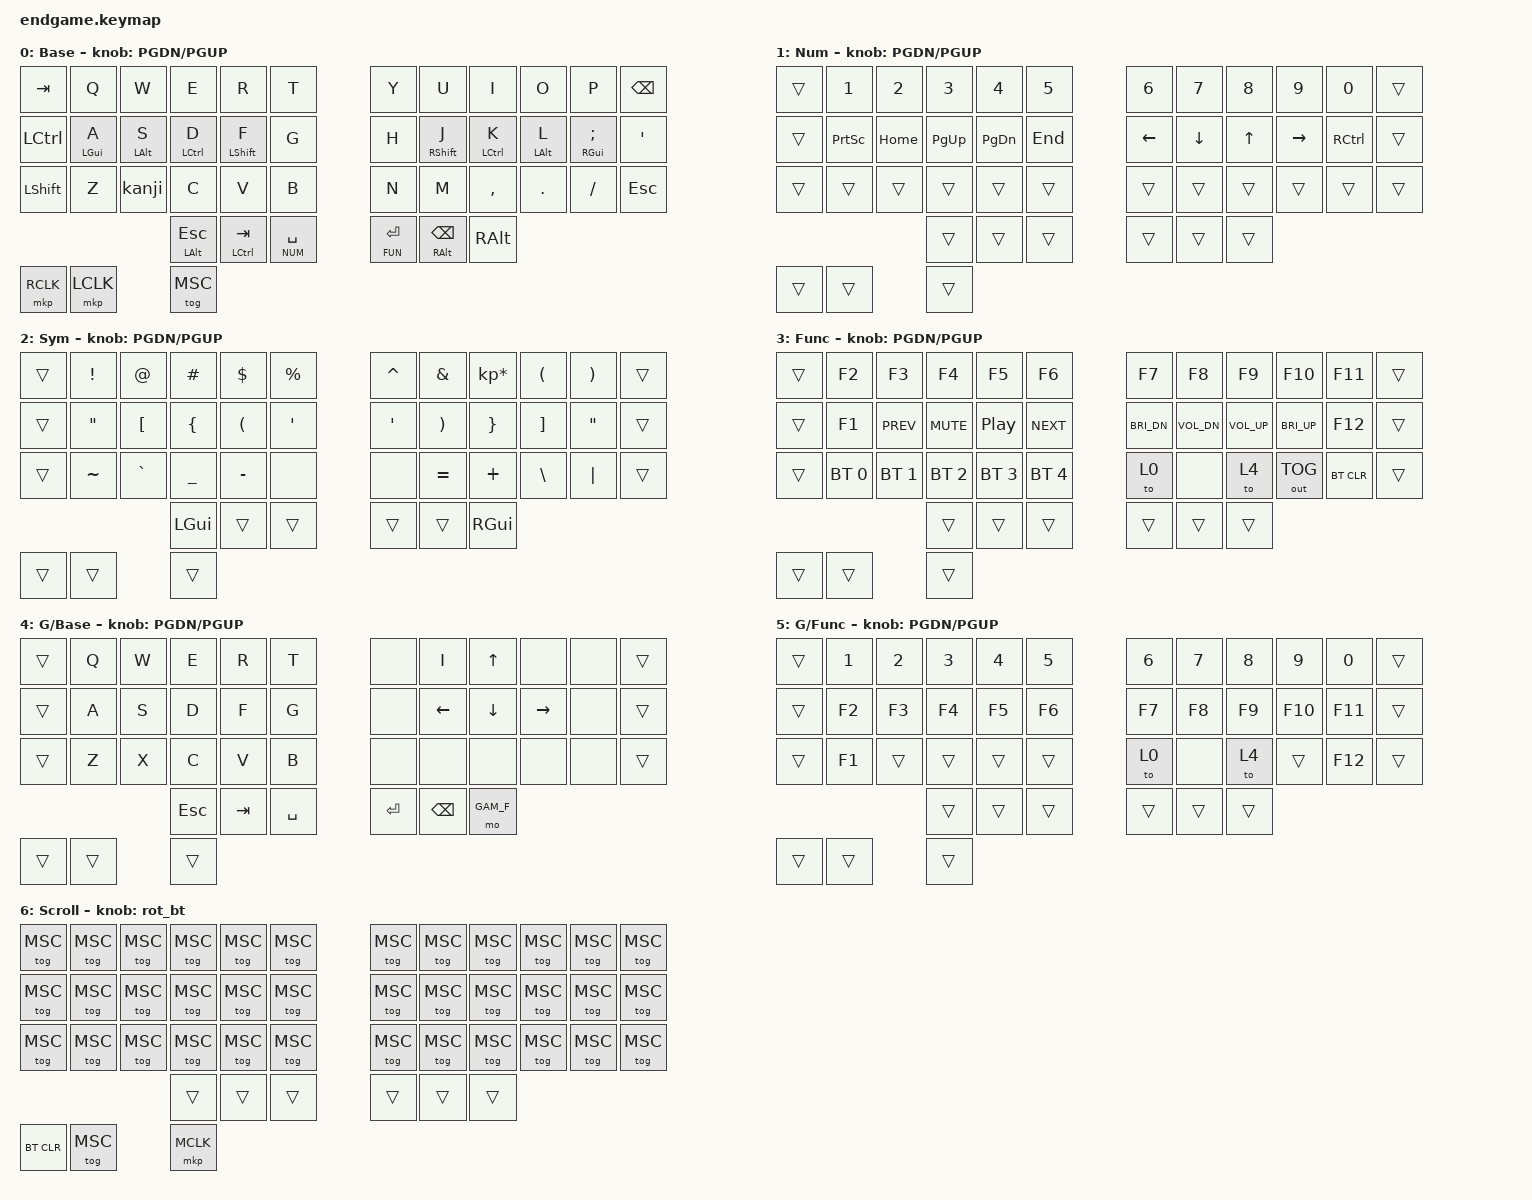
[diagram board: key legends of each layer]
/*
 * Copyright (c) 2020 The ZMK Contributors
 *
 * SPDX-License-Identifier: MIT
 */

#include <behaviors.dtsi>
#include <dt-bindings/zmk/keys.h>
#include <dt-bindings/zmk/bt.h>
#include <dt-bindings/zmk/outputs.h>
#include <dt-bindings/zmk/rgb.h>
#include <dt-bindings/led/led.h>
#include <dt-bindings/zmk/mouse.h>

#define BAS 0 // mouse key layer
#define NUM 1 // mouse key layer
#define SYM 2 // mouse key layer
#define FUN 3 // mouse key layer
#define GAM 4 // mouse key layer
#define GAM_F 5
#define MSC 6 // mouse scoll layer

#define INPUT_EV_REL 0x02
#define INPUT_REL_X 0x00
#define INPUT_REL_Y 0x01

&encoder {
	status = "okay";
};

&mt {
        tapping-term-ms = <200>;
};

/ {

    /* input config for mouse move mode on default layer (DEF & MSK) */
    tb0_mmv_ibl {
        /* new forked compatible name */
        compatible = "zmk,input-behavior-listener";

        /* the input point device alias */
        device = <&trackball>;

        /* only enable in default layer (DEF) & mouse key layer (MSK) */
        layers = <BAS NUM SYM FUN GAM>;

        /* event code value to override raw input event */
        /* designed for switching to mouse scroll, xy-swap, precise-mode+, etc */
        /* NOTE: only apply input-code overriding for INPUT_EV_REL */
        evt-type = <INPUT_EV_REL>;
        x-input-code = <INPUT_REL_X>;
        y-input-code = <INPUT_REL_Y>;
        scale-multiplier = <1>;
        scale-divisor = <1>;

        /* align to CCW 45 degree */
        rotate-deg = <285>;
        /* NOTE 1: This settings do not compitable with y-invert and x-invert */
        /* NOTE 2: Floating point computation requires alot of ram. */
        /*         This feature will cuase stackove flow with CONFIG_ZMK_USB_LOGGING=y */
    };

    /* input config for mouse scroll mode on momentary mouse scoll layer (MSC) */
    tb0_msl_ibl {
        compatible = "zmk,input-behavior-listener";
        device = <&trackball>;
        layers = <MSC>;

        evt-type = <INPUT_EV_REL>;
        x-input-code = <INPUT_REL_MISC>;
        y-input-code = <INPUT_REL_WHEEL>;

        /* align to CCW 45 degree */
        rotate-deg = <285>;
        /* NOTE 1: This settings do not compitable with y-invert and x-invert */
        /* NOTE 2: Floating point computation requires alot of ram. */
        /*         This feature will cuase stackove flow with CONFIG_ZMK_USB_LOGGING=y */
		y-invert;

		bindings = <&ib_wheel_scaler 1 8>;
    };

    /* define a resolution down scaler only for INPUT_REL_WHEEL */
    ib_wheel_scaler: ib_wheel_scaler {
    	compatible = "zmk,input-behavior-scaler";
        #binding-cells = <2>;
        evt-type = <INPUT_EV_REL>;
        input-code = <INPUT_REL_WHEEL>;
	};

    behaviors {
        hm: homerow_mods {
            compatible = "zmk,behavior-hold-tap";
            #binding-cells = <2>;
            tapping-term-ms = <200>;
            quick-tap-ms = <200>;
            require-prior-idle-ms = <100>;
            flavor = "tap-preferred";
            bindings = <&kp>, <&kp>;
        };
        hm_l: homerow_mods_layer {
            compatible = "zmk,behavior-hold-tap";
            #binding-cells = <2>;
            tapping-term-ms = <200>;
            quick-tap-ms = <200>;
            require-prior-idle-ms = <100>;
            flavor = "tap-preferred";
            bindings = <&mo>, <&kp>;
        };
        td_mt: tap_dance_mod_tap {
                compatible = "zmk,behavior-tap-dance";
                #binding-cells = <0>;
                tapping-term-ms = <200>;
                bindings = <&hm LCTRL BSPC>, <&kp BSPC>;
        };
        kanji: kanji_morph {
            compatible = "zmk,behavior-mod-morph";
            #binding-cells = <0>;
            bindings = <&kp X>, <&kp GRAVE>;
            mods = <(MOD_RALT)>;
	    keep-mods = <(MOD_RALT)>;
        };
        rot_bt: bt_behavior {
            compatible = "zmk,behavior-sensor-rotate";
            #sensor-binding-cells = <0>;
            bindings = <&bt BT_PRV>, <&bt BT_NXT>;
        };
    };
    combos {
        compatible = "zmk,combos";
        combo_del {
            timeout-ms = <50>;
            key-positions = <1 13>;
            bindings = <&kp ESC>;
            layers = <0>;
        };
        combo_gui {
            timeout-ms = <50>;
            key-positions = <10 22>;
            bindings = <&kp DEL>;
            layers = <0>;
        };
        combo_shift {
            timeout-ms = <50>;
            key-positions = <16 19>;
            bindings = <&kt LSHFT>;
            layers = <0>;
        };
		// left combo
		combo_s1 { timeout-ms = <50>; key-positions = <38 6>; bindings = <&kp CARET>; layers = <0>; };
		combo_s2 { timeout-ms = <50>; key-positions = <38 7>; bindings = <&kp AMPS>; layers = <0>; };
		combo_s3 { timeout-ms = <50>; key-positions = <38 8>; bindings = <&kp KP_MULTIPLY>; layers = <0>; };
		combo_s4 { timeout-ms = <50>; key-positions = <38 9>; bindings = <&kp LPAR>; layers = <0>; };
		combo_s5 { timeout-ms = <50>; key-positions = <38 10>; bindings = <&kp RPAR>; layers = <0>; };

		combo_s6 { timeout-ms = <50>; key-positions = <38 18>; bindings = <&kp SQT>; layers = <0>; };
		combo_s7 { timeout-ms = <50>; key-positions = <38 19>; bindings = <&kp RPAR>; layers = <0>; };
		combo_s8 { timeout-ms = <50>; key-positions = <38 20>; bindings = <&kp RBRC>; layers = <0>; };
		combo_s9 { timeout-ms = <50>; key-positions = <38 21>; bindings = <&kp RBKT>; layers = <0>; };
		combo_s10 { timeout-ms = <50>; key-positions = <38 22>; bindings = <&kp DQT>; layers = <0>; };

		combo_s11 { timeout-ms = <50>; key-positions = <38 30>; bindings = <&kp GT>; layers = <0>; };
		combo_s12 { timeout-ms = <50>; key-positions = <38 31>; bindings = <&kp EQUAL>; layers = <0>; };
		combo_s13 { timeout-ms = <50>; key-positions = <38 32>; bindings = <&kp PLUS>; layers = <0>; };
		combo_s14 { timeout-ms = <50>; key-positions = <38 33>; bindings = <&kp BSLH>; layers = <0>; };
		combo_s15 { timeout-ms = <50>; key-positions = <38 34>; bindings = <&kp PIPE>; layers = <0>; };


		//right combo
		combo_s16 { timeout-ms = <50>; key-positions = <39 1>; bindings = <&kp EXCL>; layers = <0>; };
		combo_s17 { timeout-ms = <50>; key-positions = <39 2>; bindings = <&kp AT>; layers = <0>; };
		combo_s18 { timeout-ms = <50>; key-positions = <39 3>; bindings = <&kp HASH>; layers = <0>; };
		combo_s19 { timeout-ms = <50>; key-positions = <39 4>; bindings = <&kp DLLR>; layers = <0>; };
		combo_s20 { timeout-ms = <50>; key-positions = <39 5>; bindings = <&kp PRCNT>; layers = <0>; };

		combo_s21 { timeout-ms = <50>; key-positions = <39 13>; bindings = <&kp DQT>; layers = <0>; };
		combo_s22 { timeout-ms = <50>; key-positions = <39 14>; bindings = <&kp LBKT>; layers = <0>; };
		combo_s23 { timeout-ms = <50>; key-positions = <39 15>; bindings = <&kp LBRC>; layers = <0>; };
		combo_s24 { timeout-ms = <50>; key-positions = <39 16>; bindings = <&kp LPAR>; layers = <0>; };
		combo_s25 { timeout-ms = <50>; key-positions = <39 17>; bindings = <&kp SQT>; layers = <0>; };

		combo_s26 { timeout-ms = <50>; key-positions = <39 25>; bindings = <&kp TILDE>; layers = <0>; };
		combo_s27 { timeout-ms = <50>; key-positions = <39 26>; bindings = <&kp GRAVE>; layers = <0>; };
		combo_s28 { timeout-ms = <50>; key-positions = <39 27>; bindings = <&kp UNDER>; layers = <0>; };
		combo_s29 { timeout-ms = <50>; key-positions = <39 28>; bindings = <&kp MINUS>; layers = <0>; };
		combo_s30 { timeout-ms = <50>; key-positions = <39 29>; bindings = <&kp LT>; layers = <0>; };

    };

    keymap {
        compatible = "zmk,keymap";

        default_layer {
            // -----------------------------------------------------------------------------------------
            // |  TAB |  Q  |  W  |  E  |  R  |  T  |   |  Y  |  U   |  I  |  O  |  P  | BKSP |
            // | CTRL |  A  |  S  |  D  |  F  |  G  |   |  H  |  J   |  K  |  L  |  ;  |  '   |
            // | SHFT |  Z  |  X  |  C  |  V  |  B  |   |  N  |  M   |  ,  |  .  |  /  | ESC  |
            //                    | ALT | LWR | SPC |   | ENT | RSE  | ALT |
			display-name = "Base";	
            bindings = <
                &kp TAB   &kp Q &kp W  &kp E        &kp R         &kp T                     &kp Y          &kp U          &kp I     &kp O   &kp P    &kp BSPC
                &kp LCTRL &hm LGUI A &hm LALT S  &hm LCTRL D &hm LSHFT F &kp G              &kp H          &hm RSHFT J    &hm LCTRL K     &hm LALT L &hm RGUI SEMI &kp SQT
                &kp LSHFT &kp Z &kanji &kp C        &kp V         &kp B                     &kp N          &kp M          &kp COMMA &kp DOT &kp FSLH &kp ESC
                                       &hm LALT ESC &hm LCTRL TAB &hm_l NUM SPACE             &hm_l FUN RET &hm RALT BSPC &kp RALT
                &mkp RCLK &mkp LCLK &tog MSC
            >;
            sensor-bindings = <&inc_dec_kp PGDN PGUP>;
        };

        lower_layer {
            // -----------------------------------------------------------------------------------------
            // |  TAB |  1  |  2  |  3  |  4  |  5  |   |  6  |  7  |  8  |  9  |  0  | BKSP |
            // | CTRL |PSCRN| HOM | PUP | PUD | END |   | LFT | DWN |  UP | RGT |  `  |      |
            // | SHFT |     |     |     |     |     |   |     |     |     |     |     |      |
            //                    | GUI |     | SPC |   | ENT |     | GUI |
			display-name = "Num";
            bindings = <
                &trans  &kp N1    &kp N2   &kp N3    &kp N4    &kp N5      &kp N6   &kp N7   &kp N8 &kp N9    &kp N0    &trans
                &trans  &kp PSCRN &kp HOME &kp PG_UP &kp PG_DN &kp END     &kp LEFT &kp DOWN &kp UP &kp RIGHT &kp RCTRL &trans
                &trans  &trans    &trans   &trans    &trans    &trans      &trans   &trans   &trans &trans    &trans   &trans
                                           &trans    &trans    &trans      &trans   &trans   &trans
                &trans &trans &trans
            >;
            sensor-bindings = <&inc_dec_kp PGDN PGUP>;
        };

        raise_layer {
            // -----------------------------------------------------------------------------------------
            // |  TAB |  !  |  @  |  #  |  $  |  %  |   |  ^  |  &  |  *  |  (  |  )  | BKSP |
            // | CTRL | PRV | MUT | PLY | NXT | VOU |   |  -  |  =  |  [  |  ]  |  \  |  `   |
            // | SHFT |     |     |     |     | VOD |   |  _  |  +  |  {  |  }  | "|" |  ~   |
            //                    | GUI |     | SPC |   | ENT |     | GUI |
			display-name = "Sym";
            bindings = <
                &trans &kp EXCL  &kp AT    &kp HASH  &kp DLLR  &kp PRCNT       &kp CARET &kp AMPS  &kp KP_MULTIPLY &kp LPAR &kp RPAR &trans
                &trans &kp DQT   &kp LBKT  &kp LBRC  &kp LPAR  &kp SQT         &kp SQT   &kp RPAR  &kp RBRC        &kp RBKT &kp DQT  &trans
                &trans &kp TILDE &kp GRAVE &kp UNDER &kp MINUS &none           &none     &kp EQUAL &kp PLUS        &kp BSLH &kp PIPE &trans
                                           &kp LGUI  &trans    &trans          &trans    &trans    &kp RGUI
                &trans &trans &trans
            >;
            sensor-bindings = <&inc_dec_kp PGDN PGUP>;
        };

        super_layer {
            // -----------------------------------------------------------------------------------------
            // |  F1  |  F2 |  F3 |  F4 |  F5 |  F6 |   |  F7 |  F8 |  F9 | F10 | F11 | F12 |
            // |      | BT1 | BT2 | BT3 | BT4 | BT5 |   |     | RON | HUI | SAI | BRI |     |
            // |      | USB | BLE |     |     | CLR |   |     | ROF | HUD | SAD | BRD |     |
            //                    |     |     |     |   |     |     |    |
			display-name = "Func";
            bindings = <
                &trans   &kp F2       &kp F3       &kp F4       &kp F5       &kp F6              &kp F7       &kp F8       &kp F9       &kp F10      &kp F11    &trans
                &trans   &kp F1       &kp C_PREV   &kp C_MUTE   &kp C_PP     &kp C_NEXT          &kp C_BRI_DN &kp C_VOL_DN &kp C_VOL_UP &kp C_BRI_UP &kp F12    &trans
                &trans   &bt BT_SEL 0 &bt BT_SEL 1 &bt BT_SEL 2 &bt BT_SEL 3 &bt BT_SEL 4        &to 0        &none        &to 4        &out OUT_TOG &bt BT_CLR &trans
                                      &trans       &trans       &trans              &trans       &trans       &trans
                &trans &trans &trans
            >;
            sensor-bindings = <&inc_dec_kp PGDN PGUP>;
        };

        game_layer_base {
            // -----------------------------------------------------------------------------------------
            // |  F1  |  F2 |  F3 |  F4 |  F5 |  F6 |   |  F7 |  F8 |  F9 | F10 | F11 | F12 |
            // |      | BT1 | BT2 | BT3 | BT4 | BT5 |   |     | RON | HUI | SAI | BRI |     |
            // |      | USB | BLE |     |     | CLR |   |     | ROF | HUD | SAD | BRD |     |
            //                    |     |     |     |   |     |     |    |
			display-name = "G/Base";
            bindings = <  
                &trans &kp Q &kp W &kp E   &kp R   &kp T        &none     &kp I    &kp UP   &none     &none &trans
                &trans &kp A &kp S &kp D   &kp F   &kp G        &none     &kp LEFT &kp DOWN &kp RIGHT &none &trans
                &trans &kp Z &kp X &kp C   &kp V   &kp B        &none     &none    &none    &none     &none &trans
                                   &kp ESC &kp TAB &kp SPACE    &kp ENTER &kp BSPC &mo GAM_F
                &trans &trans &trans
            >;
            sensor-bindings = <&inc_dec_kp PGDN PGUP>;
        };

        game_layer_func {
            // -----------------------------------------------------------------------------------------
            // |  F1  |  F2 |  F3 |  F4 |  F5 |  F6 |   |  F7 |  F8 |  F9 | F10 | F11 | F12 |
            // |      | BT1 | BT2 | BT3 | BT4 | BT5 |   |     | RON | HUI | SAI | BRI |     |
            // |      | USB | BLE |     |     | CLR |   |     | ROF | HUD | SAD | BRD |     |
            //                    |     |     |     |   |     |     |    |
			display-name = "G/Func";
            bindings = <
                &trans &kp N1 &kp N2 &kp N3 &kp N4 &kp N5   &kp N6 &kp N7 &kp N8 &kp N9 &kp N0 &trans
                &trans &kp F2 &kp F3 &kp F4 &kp F5 &kp F6   &kp F7 &kp F8 &kp F9 &kp F10 &kp F11 &trans
                &trans &kp F1 &trans &trans &trans &trans   &to 0  &none  &to 4  &trans &kp F12 &trans
                                     &trans &trans &trans   &trans &trans &trans
                &trans &trans &trans
            >;
            sensor-bindings = <&inc_dec_kp PGDN PGUP>;
        };

        scroll_layer {
            // -----------------------------------------------------------------------------------------
            // |  F1  |  F2 |  F3 |  F4 |  F5 |  F6 |   |  F7 |  F8 |  F9 | F10 | F11 | F12 |
            // |      | BT1 | BT2 | BT3 | BT4 | BT5 |   |     | RON | HUI | SAI | BRI |     |
            // |      | USB | BLE |     |     | CLR |   |     | ROF | HUD | SAD | BRD |     |
            //                    |     |     |     |   |     |     |    |
			display-name = "Scroll";
            bindings = <
				&tog MSC &tog MSC &tog MSC &tog MSC &tog MSC &tog MSC 	&tog MSC &tog MSC &tog MSC &tog MSC &tog MSC &tog MSC 
				&tog MSC &tog MSC &tog MSC &tog MSC &tog MSC &tog MSC 	&tog MSC &tog MSC &tog MSC &tog MSC &tog MSC &tog MSC 
				&tog MSC &tog MSC &tog MSC &tog MSC &tog MSC &tog MSC 	&tog MSC &tog MSC &tog MSC &tog MSC &tog MSC &tog MSC 
                                                           &trans   &trans   &trans     &trans   &trans   &trans
				&bt BT_CLR &tog MSC &mkp MCLK
            >;
            sensor-bindings	= <&rot_bt>;
        };
    };
};
